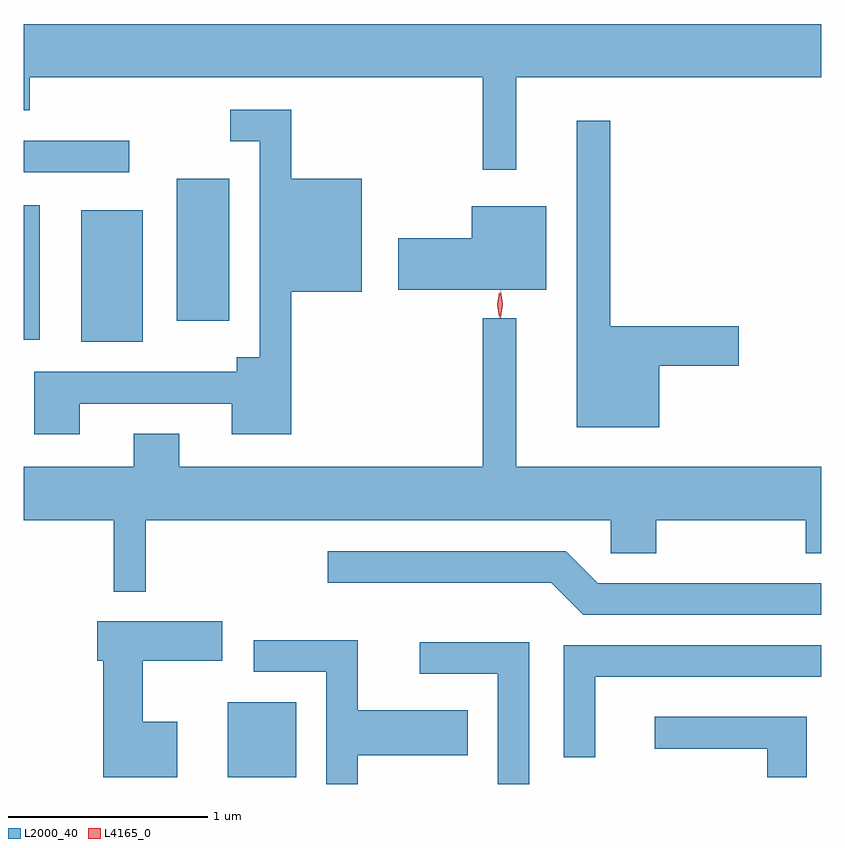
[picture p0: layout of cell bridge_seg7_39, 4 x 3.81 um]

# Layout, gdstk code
import gdstk
lib = gdstk.Library(unit=1e-6, precision=1e-09)
def R(c, l, rs):  # rectangles x0, y0, x1, y1
    for r in rs: c.add(gdstk.rectangle(r[:2], r[2:], *l))
def P(c, l, *ps):  # polygons
    for p in ps: c.add(gdstk.Polygon(p, *l))
L2000_40 = (2000, 40)
L4165_0 = (4165, 0)

bridge_seg7_39 = lib.new_cell('bridge_seg7_39')
R(bridge_seg7_39, L2000_40, [(1718.861,1788.506,1719.204,1788.884), (1718.126,1790.691,1718.434,1791.349), (1717.838,1790.701,1717.919,1791.374), (1718.606,1790.796,1718.869,1791.509), (1717.838,1791.541,1718.368,1791.699)])
P(bridge_seg7_39, L2000_40, [(1720.309,1792.016),(1721.838,1792.016),(1721.838,1792.284),(1717.838,1792.284),(1717.838,1791.851),(1717.869,1791.851),(1717.869,1792.016),(1720.141,1792.016),(1720.141,1791.553),(1720.309,1791.553)],
  [(1718.119,1790.381),(1718.881,1790.381),(1718.881,1790.226),(1719.179,1790.226),(1719.179,1790.941),(1719.534,1790.941),(1719.534,1791.509),(1719.179,1791.509),(1719.179,1791.854),(1718.873,1791.854),(1718.873,1791.696),(1719.021,1791.696),(1719.021,1790.614),(1718.906,1790.614),(1718.906,1790.539),(1717.891,1790.539),(1717.891,1790.226),(1718.119,1790.226)],
  [(1721.024,1790.571),(1721.424,1790.571),(1721.424,1790.769),(1720.779,1790.769),(1720.779,1791.798),(1720.611,1791.798),(1720.611,1790.261),(1721.024,1790.261)],
  [(1720.459,1791.369),(1720.086,1791.369),(1720.086,1791.209),(1719.716,1791.209),(1719.716,1790.951),(1720.459,1790.951)],
  [(1718.449,1789.796),(1720.781,1789.796),(1720.781,1789.631),(1721.009,1789.631),(1721.009,1789.796),(1721.761,1789.796),(1721.761,1789.631),(1721.838,1789.631),(1721.838,1790.064),(1720.309,1790.064),(1720.309,1790.808),(1720.141,1790.808),(1720.141,1790.064),(1718.619,1790.064),(1718.619,1790.229),(1718.391,1790.229),(1718.391,1790.064),(1717.838,1790.064),(1717.838,1789.796),(1718.291,1789.796),(1718.291,1789.438),(1718.449,1789.438)],
  [(1721.838,1789.479),(1720.717,1789.479),(1720.557,1789.639),(1719.363,1789.639),(1719.363,1789.481),(1720.484,1789.481),(1720.644,1789.321),(1721.838,1789.321)],
  [(1718.609,1788.784),(1718.434,1788.784),(1718.434,1789.091),(1718.834,1789.091),(1718.834,1789.289),(1718.206,1789.289),(1718.206,1789.091),(1718.236,1789.091),(1718.236,1788.506),(1718.609,1788.506)],
  [(1719.514,1788.616),(1720.064,1788.616),(1720.064,1788.844),(1719.514,1788.844),(1719.514,1789.194),(1718.993,1789.194),(1718.993,1789.036),(1719.356,1789.036),(1719.356,1788.473),(1719.514,1788.473)],
  [(1720.374,1789.184),(1719.823,1789.184),(1719.823,1789.026),(1720.216,1789.026),(1720.216,1788.473),(1720.374,1788.473)],
  [(1720.704,1789.011),(1721.838,1789.011),(1721.838,1789.169),(1720.546,1789.169),(1720.546,1788.608),(1720.704,1788.608)],
  [(1721.764,1788.809),(1721.003,1788.809),(1721.003,1788.651),(1721.566,1788.651),(1721.566,1788.506),(1721.764,1788.506)])
P(bridge_seg7_39, L4165_0, [(1720.228,1790.81),(1720.22,1790.878),(1720.23,1790.945),(1720.231,1790.946),(1720.231,1790.945),(1720.24,1790.878),(1720.23,1790.81),(1720.229,1790.81)],
  [(1720.224,1790.813),(1720.223,1790.814),(1720.213,1790.876),(1720.223,1790.939),(1720.223,1790.94),(1720.224,1790.939),(1720.233,1790.877),(1720.224,1790.814)])

lib.write_gds('bridge_seg7_39.gds')
